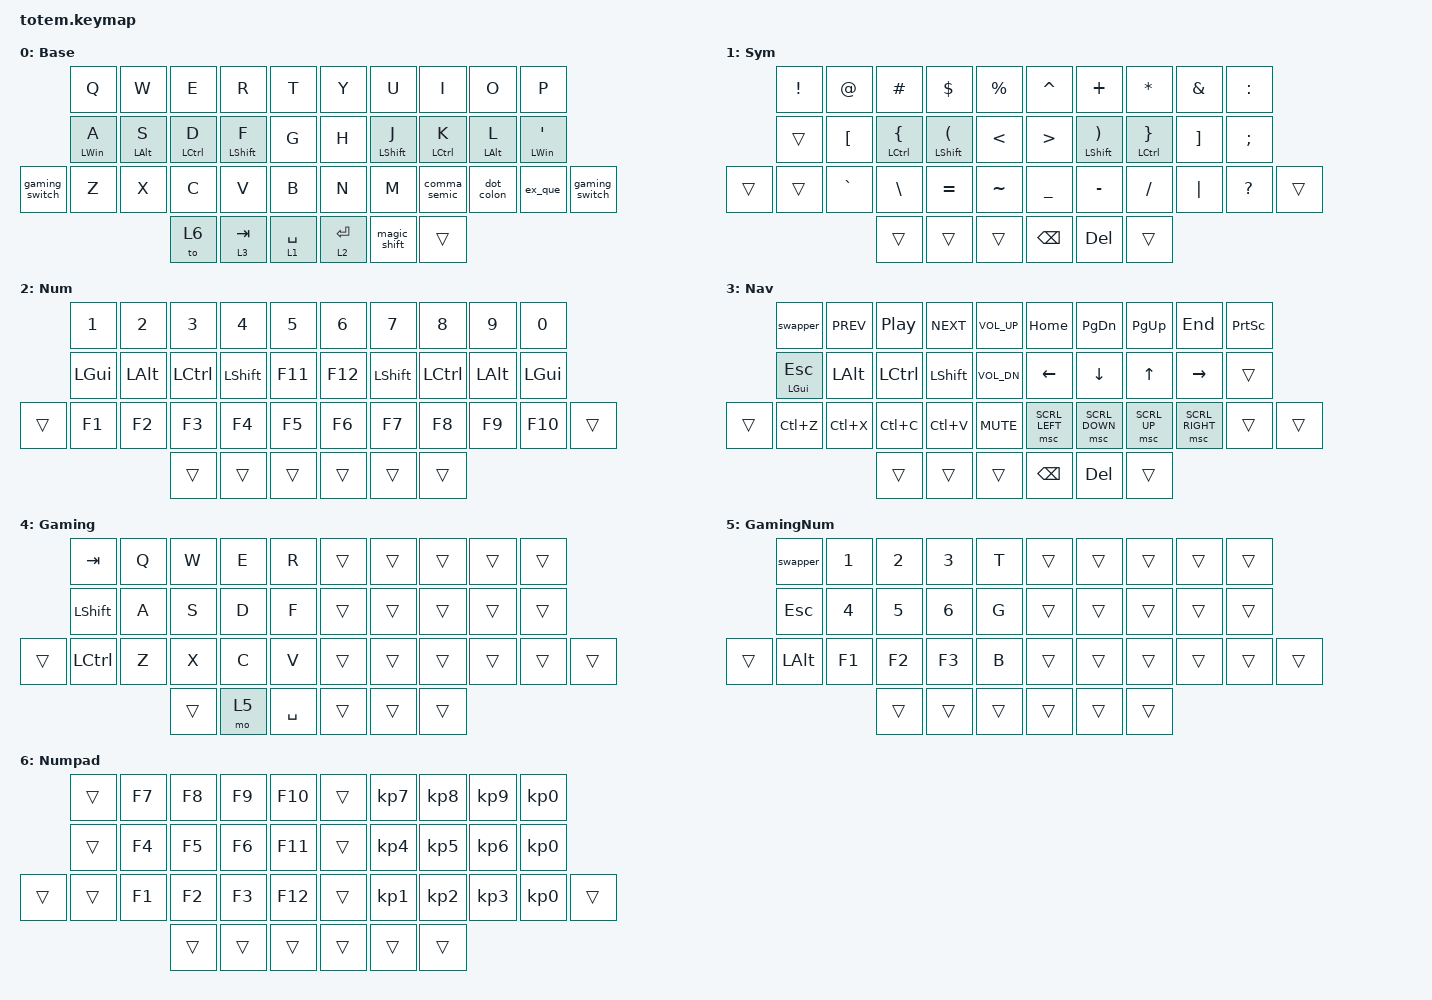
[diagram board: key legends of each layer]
#include <input/processors.dtsi>
#include <behaviors.dtsi>
#include <dt-bindings/zmk/keys.h>
#include <dt-bindings/zmk/pointing.h>
#include "totem.h"

#define ZMK_POINTING_DEFAULT_MOVE_VAL 3000
#define ZMK_POINTING_DEFAULT_SCRL_VAL 30

&sk {
    release-after-ms = <900>;
    quick-release;
};

&sl { ignore-modifiers; };

&mt {
    flavor = "tap-preferred";
    tapping-term-ms = <220>;
    quick-tap-ms = <220>;
    hold-trigger-key-positions = <0>;
};

&lt {
    flavor = "balanced";
    quick-tap-ms = <175>;
    tapping-term-ms = <200>;
};

&mmv {
    acceleration-exponent = <1>;          // 1
    time-to-max-speed-ms = <500>;         // 300
    delay-ms = <0>;                       // 0
};

&msc {
    acceleration-exponent = <0>;          // 0
    time-to-max-speed-ms = <300>;         // 300
    delay-ms = <0>;                       // 0
};

&mmv_input_listener {
    warp {
        layers = <2>;
        input-processors = <&zip_xy_scaler 3 1>;
    };

    precision {
        layers = <4>;
        input-processors = <&zip_xy_scaler 1 2>;
    };
};

/ {
    zip_scroll_scaler: zip_scroll_scaler {
        compatible = "zmk,input-processor-scaler";
        #input-processor-cells = <2>;
        type = <INPUT_EV_REL>;
        codes = <INPUT_REL_WHEEL INPUT_REL_HWHEEL>;
        track-remainders;
    };
};

/ {
    behaviors {
        hml: home_row_mod_left {
            compatible = "zmk,behavior-hold-tap";
            #binding-cells = <2>;
            flavor = "balanced";
            require-prior-idle-ms = <150>;
            tapping-term-ms = <280>;
            quick-tap-ms = <175>;
            bindings = <&kp>, <&kp>;

            hold-trigger-key-positions = <KEYS_R THUMBS>;
            hold-trigger-on-release;
        };

        hmr: home_row_mod_right {
            compatible = "zmk,behavior-hold-tap";
            #binding-cells = <2>;
            flavor = "balanced";
            require-prior-idle-ms = <150>;
            tapping-term-ms = <280>;
            quick-tap-ms = <175>;
            bindings = <&kp>, <&kp>;

            hold-trigger-key-positions = <KEYS_L THUMBS>;
            hold-trigger-on-release;
        };

        comma_semic: comma_semic {
            compatible = "zmk,behavior-mod-morph";
            label = "COMMA_SEMIC";
            bindings = <&kp COMMA>, <&kp SEMI>;

            #binding-cells = <0>;
            mods = <(MOD_LSFT)>;
        };

        dot_colon: dot_colon {
            compatible = "zmk,behavior-mod-morph";
            label = "DOT_COLON";
            bindings = <&kp DOT>, <&kp COLON>;

            #binding-cells = <0>;
            mods = <(MOD_LSFT)>;
        };

        ex_que: ex_que {
            compatible = "zmk,behavior-mod-morph";
            label = "EX_QUE";
            bindings = <&kp EXCLAMATION>, <&kp QUESTION>;

            #binding-cells = <0>;
            mods = <(MOD_LSFT)>;
        };

        gaming_switch: gaming_switch {
            compatible = "zmk,behavior-tap-dance";
            label = "GAMING_SWITCH";
            #binding-cells = <0>;
            bindings = <&to 0>, <&to 4>;
        };

        swapper: swapper {
            compatible = "zmk,behavior-tri-state";
            #binding-cells = <0>;
            bindings = <&kt LALT>, <&kp TAB>, <&kt LALT>;

            ignored-key-positions = <LT2 RT2 RM1 RM2 RM3>;
        };

        hold_sticky: hold_sticky {
            compatible = "zmk,behavior-hold-tap";
            label = "HOLD_STICKY";
            bindings = <&kp>, <&sk>;

            #binding-cells = <2>;
            tapping-term-ms = <200>;
        };

        magic_shift: magic_shift {
            compatible = "zmk,behavior-tap-dance";
            label = "MAGIC_SHIFT";
            #binding-cells = <0>;
            bindings = <&hold_sticky LSHIFT LSHIFT>, <&caps_word>;
        };
    };

    combos { compatible = "zmk,combos"; };

    keymap {
        compatible = "zmk,keymap";

        Base {
            display-name = "Base";
            bindings = <
                &kp Q            &kp W            &kp E         &kp R              &kp T          &kp Y        &kp U              &kp I                &kp O            &kp P
                &hml LEFT_WIN A  &hml LEFT_ALT S  &hml LCTRL D  &hml LEFT_SHIFT F  &kp G          &kp H        &hmr LEFT_SHIFT J  &hmr LEFT_CONTROL K  &hmr LEFT_ALT L  &hmr LEFT_WIN SQT
&gaming_switch  &kp Z            &kp X            &kp C         &kp V              &kp B          &kp N        &kp M              &comma_semic         &dot_colon       &ex_que            &gaming_switch
                                                  &to 6         &lt 3 TAB          &lt 1 SPACE    &lt 2 ENTER  &magic_shift       &trans
            >;
        };

        Sym {
            bindings = <
        &kp EXCLAMATION  &kp AT     &kp HASH         &kp DLLR         &kp PRCNT    &kp CARET      &kp PLUS          &kp ASTRK        &kp AMPERSAND  &kp COLON
        &trans           &kp LBKT   &hml LCTRL LBRC  &hml LSHFT LPAR  &kp LT       &kp GT         &hmr LSHIFT RPAR  &hmr LCTRL RBRC  &kp RBKT       &kp SEMI
&trans  &trans           &kp GRAVE  &kp BSLH         &kp EQUAL        &kp TILDE    &kp UNDER      &kp MINUS         &kp SLASH        &kp PIPE       &kp QUESTION  &trans
                                    &trans           &trans           &trans       &kp BACKSPACE  &kp DEL           &trans
            >;
        };

        Num {
            bindings = <
        &kp N1    &kp N2    &kp N3     &kp N4     &kp N5     &kp N6   &kp N7      &kp N8     &kp N9    &kp N0
        &kp LGUI  &kp LALT  &kp LCTRL  &kp LSHFT  &kp F11    &kp F12  &kp LSHIFT  &kp LCTRL  &kp LALT  &kp LGUI
&trans  &kp F1    &kp F2    &kp F3     &kp F4     &kp F5     &kp F6   &kp F7      &kp F8     &kp F9    &kp F10   &trans
                            &trans     &trans     &trans     &trans   &trans      &trans
            >;
        };

        Nav {
            bindings = <
        &swapper         &kp C_PREV  &kp C_PLAY_PAUSE  &kp C_NEXT  &kp C_VOL_UP    &kp HOME        &kp PG_DN       &kp PG_UP     &kp END          &kp PRINTSCREEN
        &mt LGUI ESCAPE  &kp LALT    &kp LCTRL         &kp LSHIFT  &kp C_VOL_DN    &kp LEFT        &kp DOWN        &kp UP        &kp RIGHT        &trans
&trans  &kp LC(Z)        &kp LC(X)   &kp LC(C)         &kp LC(V)   &kp C_MUTE      &msc SCRL_LEFT  &msc SCRL_DOWN  &msc SCRL_UP  &msc SCRL_RIGHT  &trans           &trans
                                     &trans            &trans      &trans          &kp BACKSPACE   &kp DELETE      &trans
            >;
        };

        Gaming {
            bindings = <
        &kp TAB    &kp Q  &kp W   &kp E  &kp R        &trans  &trans  &trans  &trans  &trans
        &kp LSHFT  &kp A  &kp S   &kp D  &kp F        &trans  &trans  &trans  &trans  &trans
&trans  &kp LCTRL  &kp Z  &kp X   &kp C  &kp V        &trans  &trans  &trans  &trans  &trans  &trans
                          &trans  &mo 5  &kp SPACE    &trans  &trans  &trans
            >;
        };

        GamingNum {
            bindings = <
        &swapper      &kp N1  &kp N2  &kp N3  &kp T     &trans  &trans  &trans  &trans  &trans
        &kp ESC       &kp N4  &kp N5  &kp N6  &kp G     &trans  &trans  &trans  &trans  &trans
&trans  &kp LEFT_ALT  &kp F1  &kp F2  &kp F3  &kp B     &trans  &trans  &trans  &trans  &trans  &trans
                              &trans  &trans  &trans    &trans  &trans  &trans
            >;
        };

        Numpad {
            bindings = <
        &trans  &kp F7  &kp F8  &kp F9  &kp F10    &trans  &kp KP_N7  &kp KP_N8  &kp KP_N9  &kp KP_N0
        &trans  &kp F4  &kp F5  &kp F6  &kp F11    &trans  &kp KP_N4  &kp KP_N5  &kp KP_N6  &kp KP_N0
&trans  &trans  &kp F1  &kp F2  &kp F3  &kp F12    &trans  &kp KP_N1  &kp KP_N2  &kp KP_N3  &kp KP_N0  &trans
                        &trans  &trans  &trans     &trans  &trans     &trans
            >;
        };
    };
};
